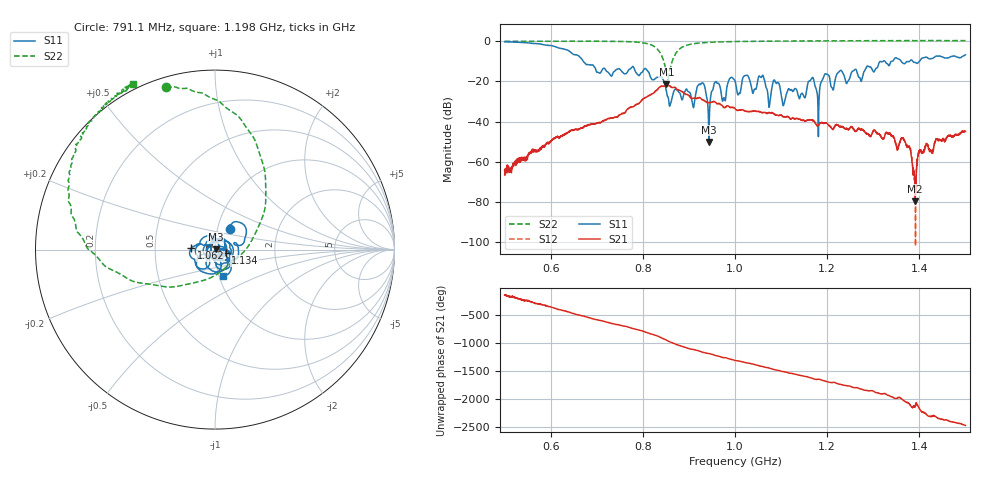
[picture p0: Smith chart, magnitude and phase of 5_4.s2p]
!Keysight Technologies,N5242B,MY48420860,A.13.80.08
!Date: Saturday, September 26, 2020 12:51:43
!Correction: S11(Full 2 Port(1,2))
!S21(Full 2 Port(1,2))
!S12(Full 2 Port(1,2))
!S22(Full 2 Port(1,2))
!S2P File: Measurements: S11, S21, S12, S22:
# Hz S  dB  R 50
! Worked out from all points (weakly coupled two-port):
!   2650 points, 500 MHz to 1.5 GHz, reference 50 ohm
!   highest |S21| = -21.46 dB at 851.1 MHz (marker M1); lowest = -79.8 dB at 1.391 GHz (marker M2)
!   lowest |S11| = -50.2 dB at 943.6 MHz (marker M3), VSWR 1.01, Z = 50.3 + j0.0944 ohm
!   |S11| at or under -10 dB: 670.9 MHz to 1.315 GHz (644 MHz wide, 64.9 % of centre); 1.361 GHz to 1.379 GHz (17.93 MHz wide, 1.31 % of centre); 1.386 GHz to 1.4 GHz (14.08 MHz wide, 1.01 % of centre) (the widest 3 of 5)
!   |S22| runs from -18.7 to 0.5 dB; largest |S21 - S12| = 0.00041
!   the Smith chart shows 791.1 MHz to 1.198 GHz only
!   S11 on the Smith chart (normalised r, x): 791.1 MHz: 1.15, +0.27; 1.062 GHz: 0.77, +0.01; 1.134 GHz: 1.12, -0.04; 1.198 GHz: 1.04, -0.31
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5e8  -0.23 -166.2  -64.54 -149.0  -66.05 -155.1  0.04 147.7
6.049453e8  -2.31 125.9  -48.70 -13.6  -48.68 -14.0  0.06 139.4
6.668554e8  -8.61 73.8  -43.34 -157.3  -43.28 -156.7  0.05 133.0
7.910532e8  -17.04 53.9  -31.02 -51.6  -31.01 -51.9  -0.48 106.8
8.337108e8  -17.80 7.4  -23.41 -165.5  -23.43 -165.6  -4.44 66.0
8.510759e8  -24.87 -57.0  -21.46 127.5  -21.48 127.4  -15.56 -1.7
8.824085e8  -27.23 -174.8  -24.72 23.2  -24.74 23.3  -3.31 -178.6
9.288411e8  -20.72 -13.9  -29.04 -85.8  -29.08 -85.8  -0.72 151.5
9.435636e8  -50.22 17.7  -30.51 -110.8  -30.54 -110.9  -0.50 147.1
9.579086e8  -20.15 -35.6  -30.49 -147.0  -30.52 -147.0  -0.36 143.6
1.000189e9  -19.85 -117.2  -33.45 125.4  -33.51 125.0  -0.08 136.2
1.061721e9  -17.55 177.0  -35.46 14.5  -35.53 14.5  0.11 128.6
1.073801e9  -32.84 173.8  -35.54 -9.9  -35.48 -9.6  0.07 127.1
1.133824e9  -24.21 -17.2  -38.42 -125.2  -38.49 -125.4  0.24 121.9
1.166667e9  -18.38 -40.2  -39.32 170.8  -39.26 171.4  0.17 118.8
1.179502e9  -29.03 -114.0  -42.29 150.9  -42.20 150.8  0.23 118.3
1.197999e9  -16.27 -74.1  -40.61 113.7  -40.65 113.7  0.26 116.1
1.333522e9  -12.08 -129.8  -45.88 -138.3  -46.08 -136.4  0.38 105.3
1.37618e9  -10.16 -150.4  -52.68 91.8  -52.55 89.1  0.39 102.0
1.390902e9  -10.49 -157.3  -79.76 16.4  -70.90 6.8  0.39 100.9
1.414685e9  -7.86 -162.9  -51.16 -107.8  -51.37 -107.8  0.37 99.4
1.5e9  -6.72 169.1  -44.84 49.4  -44.90 51.7  0.39 92.0
